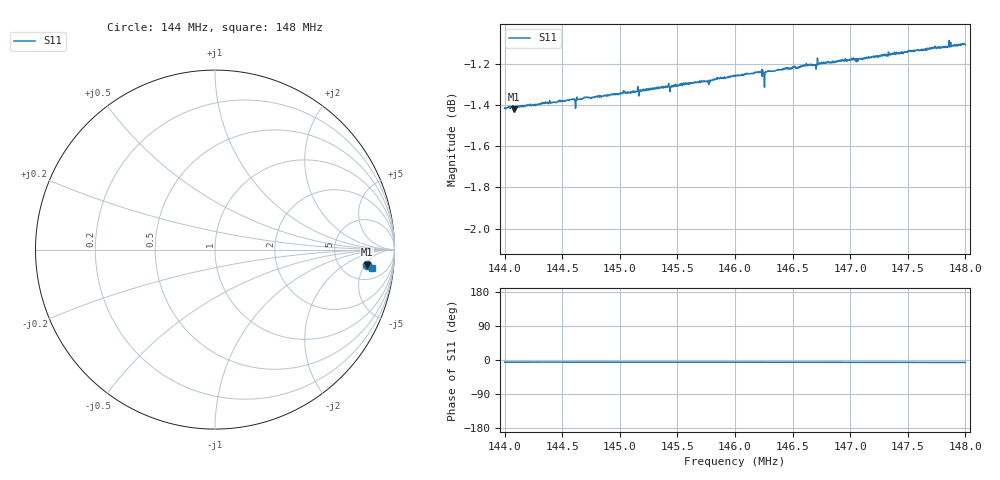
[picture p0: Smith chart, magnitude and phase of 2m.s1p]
! Calibrated averaged scanner-service zoom
# Hz S RI R 50
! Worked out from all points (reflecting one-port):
!   1001 points, 144 MHz to 148 MHz, reference 50 ohm
!   lowest |S11| = -1.4 dB at 144.08 MHz (marker M1), VSWR 12.28, Z = 451 - j270 ohm
!   phase of S11 starts at -6 deg and turns -1 deg over the sweep
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1.44e8  0.8454 -0.0838
1.44084e8  0.8453 -0.0835
1.445e8  0.849 -0.0836
1.4458e8  0.8497 -0.0834
1.44632e8  0.8497 -0.0838
1.44708e8  0.8508 -0.0839
1.45e8  0.8526 -0.084
1.455e8  0.8566 -0.0852
1.45724e8  0.8583 -0.0857
1.45768e8  0.8582 -0.086
1.45844e8  0.86 -0.0861
1.46e8  0.8606 -0.087
1.46212e8  0.8624 -0.0881
1.46228e8  0.8625 -0.0882
1.46236e8  0.8605 -0.0875
1.46256e8  0.8546 -0.0933
1.46272e8  0.8626 -0.0884
1.46284e8  0.863 -0.0885
1.465e8  0.8648 -0.0896
1.46636e8  0.866 -0.0902
1.46692e8  0.8656 -0.0908
1.46736e8  0.8668 -0.0908
1.47e8  0.8679 -0.0926
1.47072e8  0.868 -0.0931
1.475e8  0.8719 -0.0958
1.47832e8  0.8734 -0.0983
1.47872e8  0.8762 -0.0978
1.48e8  0.8747 -0.0999
